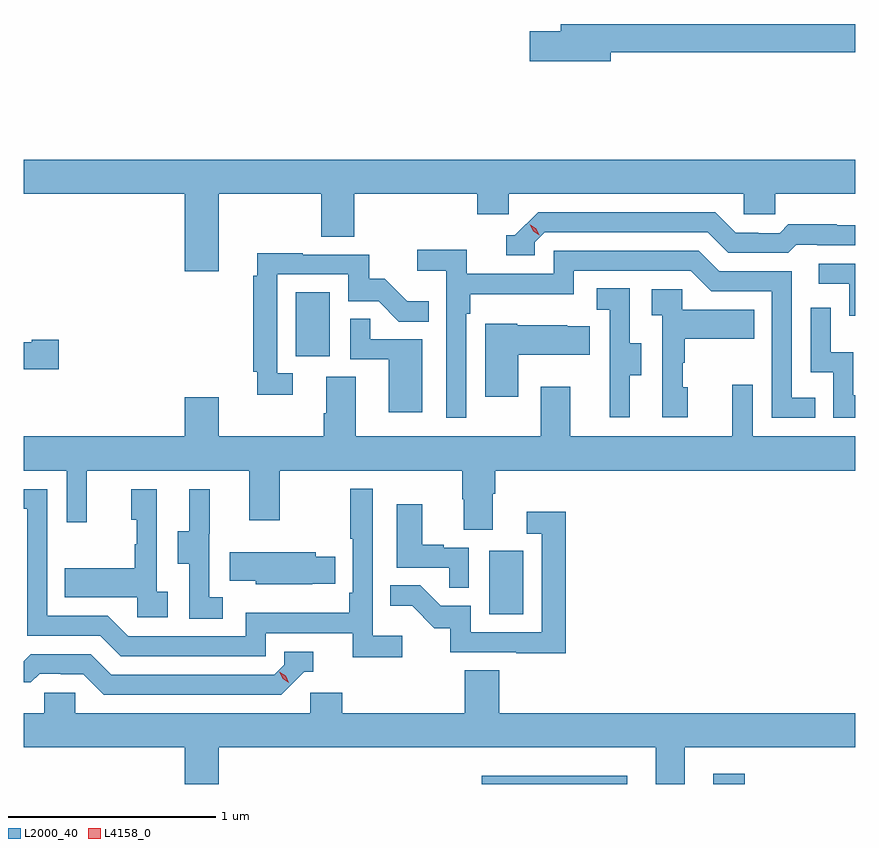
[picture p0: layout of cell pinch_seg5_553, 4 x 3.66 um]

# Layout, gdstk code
import gdstk
lib = gdstk.Library(unit=1e-6, precision=1e-09)
def R(c, l, rs):  # rectangles x0, y0, x1, y1
    for r in rs: c.add(gdstk.rectangle(r[:2], r[2:], *l))
def P(c, l, *ps):  # polygons
    for p in ps: c.add(gdstk.Polygon(p, *l))
L2000_40 = (2000, 40)
L4158_0 = (4158, 0)

pinch_seg5_553 = lib.new_cell('pinch_seg5_553')
R(pinch_seg5_553, L2000_40, [(969.633,836.604,970.333,836.644), (970.745,836.604,970.898,836.653), (969.668,837.42,969.832,837.727), (968.738,838.662,968.902,838.969)])
P(pinch_seg5_553, L2000_40, [(970.252,840.124),(971.429,840.124),(971.429,840.26),(970.013,840.26),(970.013,840.224),(969.864,840.224),(969.864,840.082),(970.252,840.082)],
  [(968.368,839.444),(968.86,839.444),(968.86,839.236),(969.02,839.236),(969.02,839.444),(969.611,839.444),(969.611,839.346),(969.762,839.346),(969.762,839.444),(970.893,839.444),(970.893,839.346),(971.043,839.346),(971.043,839.444),(971.429,839.444),(971.429,839.608),(967.429,839.608),(967.429,839.444),(968.204,839.444),(968.204,839.07),(968.368,839.07)],
  [(969.888,839.211),(969.936,839.259),(970.719,839.259),(970.818,839.16),(971.107,839.16),(971.146,839.199),(971.245,839.199),(971.245,839.196),(971.429,839.196),(971.429,839.293),(971.34,839.293),(971.34,839.296),(971.107,839.296),(971.065,839.253),(970.962,839.253),(970.962,839.256),(970.855,839.256),(970.756,839.355),(969.903,839.355),(969.792,839.244),(969.749,839.244),(969.749,839.148),(969.888,839.148)],
  [(969.558,838.865),(969.578,838.865),(969.578,838.961),(970.074,838.961),(970.074,839.073),(970.638,839.073),(970.737,838.974),(971.028,838.974),(971.028,838.365),(971.237,838.365),(971.237,838.461),(971.124,838.461),(971.124,839.07),(970.774,839.07),(970.675,839.169),(969.978,839.169),(969.978,839.058),(969.56,839.058),(969.56,839.174),(969.321,839.174),(969.321,839.072),(969.462,839.072),(969.462,838.365),(969.558,838.365)],
  [(968.722,838.581),(968.649,838.581),(968.649,839.055),(968.991,839.055),(968.991,838.926),(969.136,838.926),(969.234,838.828),(969.377,838.828),(969.377,838.927),(969.273,838.927),(969.166,839.034),(969.09,839.034),(969.09,839.151),(968.771,839.151),(968.771,839.156),(968.552,839.156),(968.552,839.048),(968.533,839.048),(968.533,838.588),(968.552,838.588),(968.552,838.476),(968.722,838.476)],
  [(971.429,839.106),(971.253,839.106),(971.253,839.01),(971.4,839.01),(971.4,838.857),(971.429,838.857)],
  [(970.345,838.57),(970.399,838.57),(970.399,838.725),(970.344,838.725),(970.344,838.988),(970.185,838.988),(970.185,838.885),(970.248,838.885),(970.248,838.581),(970.247,838.581),(970.247,838.368),(970.345,838.368)],
  [(970.624,838.512),(970.599,838.512),(970.599,838.631),(970.609,838.631),(970.609,838.745),(970.943,838.745),(970.943,838.885),(970.596,838.885),(970.596,838.983),(970.449,838.983),(970.449,838.859),(970.5,838.859),(970.5,838.368),(970.624,838.368)],
  [(971.429,838.474),(971.42,838.474),(971.42,838.682),(971.31,838.682),(971.31,838.894),(971.214,838.894),(971.214,838.584),(971.322,838.584),(971.322,838.365),(971.429,838.365)],
  [(969.346,838.743),(969.095,838.743),(969.095,838.841),(969,838.841),(969,838.647),(969.185,838.647),(969.185,838.392),(969.346,838.392)],
  [(969.808,838.67),(970.151,838.67),(970.151,838.807),(970.043,838.807),(970.043,838.81),(969.804,838.81),(969.804,838.819),(969.65,838.819),(969.65,838.467),(969.808,838.467)],
  [(967.597,838.742),(967.467,838.742),(967.467,838.729),(967.429,838.729),(967.429,838.6),(967.597,838.6)],
  [(969.685,838),(969.698,838),(969.698,838.112),(971.429,838.112),(971.429,838.276),(970.935,838.276),(970.935,838.525),(970.838,838.525),(970.838,838.276),(970.057,838.276),(970.057,838.516),(969.917,838.516),(969.917,838.276),(969.025,838.276),(969.025,838.562),(968.885,838.562),(968.885,838.388),(968.873,838.388),(968.873,838.276),(968.368,838.276),(968.368,838.465),(968.204,838.465),(968.204,838.276),(967.429,838.276),(967.429,838.112),(967.635,838.112),(967.635,837.864),(967.733,837.864),(967.733,838.112),(968.513,838.112),(968.513,837.873),(968.661,837.873),(968.661,838.112),(969.538,838.112),(969.538,837.975),(969.545,837.975),(969.545,837.826),(969.685,837.826)],
  [(969.25,837.316),(969.108,837.316),(969.108,838.024),(969,838.024),(969,837.784),(969.012,837.784),(969.012,837.523),(968.995,837.523),(968.995,837.427),(968.496,837.427),(968.496,837.315),(967.932,837.315),(967.833,837.414),(967.542,837.414),(967.542,838.023),(967.429,838.023),(967.429,837.927),(967.446,837.927),(967.446,837.318),(967.796,837.318),(967.895,837.219),(968.592,837.219),(968.592,837.33),(969.011,837.33),(969.011,837.214),(969.25,837.214)],
  [(968.122,837.53),(968.07,837.53),(968.07,838.021),(967.946,838.021),(967.946,837.876),(967.972,837.876),(967.972,837.758),(967.962,837.758),(967.962,837.643),(967.627,837.643),(967.627,837.503),(967.974,837.503),(967.974,837.405),(968.122,837.405)],
  [(968.386,837.503),(968.322,837.503),(968.322,837.807),(968.324,837.807),(968.324,838.021),(968.225,838.021),(968.225,837.819),(968.171,837.819),(968.171,837.664),(968.226,837.664),(968.226,837.4),(968.386,837.4)],
  [(969.57,837.741),(969.449,837.741),(969.449,837.754),(969.346,837.754),(969.346,837.949),(969.224,837.949),(969.224,837.645),(969.475,837.645),(969.475,837.547),(969.57,837.547)],
  [(970.037,837.913),(969.849,837.913),(969.849,837.807),(969.921,837.807),(969.921,837.333),(969.579,837.333),(969.579,837.462),(969.434,837.462),(969.336,837.56),(969.193,837.56),(969.193,837.461),(969.297,837.461),(969.404,837.354),(969.481,837.354),(969.481,837.237),(969.799,837.237),(969.799,837.232),(970.037,837.232)],
  [(968.816,837.567),(968.927,837.567),(968.927,837.696),(968.833,837.696),(968.833,837.718),(968.419,837.718),(968.419,837.581),(968.544,837.581),(968.544,837.566),(968.816,837.566)],
  [(968.778,837.144),(968.821,837.144),(968.821,837.24),(968.682,837.24),(968.682,837.177),(968.634,837.129),(967.851,837.129),(967.752,837.228),(967.463,837.228),(967.429,837.194),(967.429,837.093),(967.463,837.093),(967.505,837.135),(967.608,837.135),(967.608,837.132),(967.715,837.132),(967.814,837.033),(968.667,837.033)],
  [(968.368,836.78),(970.469,836.78),(970.469,836.604),(970.609,836.604),(970.609,836.78),(971.429,836.78),(971.429,836.944),(969.716,836.944),(969.716,837.152),(969.551,837.152),(969.551,836.944),(968.96,836.944),(968.96,837.042),(968.808,837.042),(968.808,836.944),(967.677,836.944),(967.677,837.042),(967.527,837.042),(967.527,836.944),(967.429,836.944),(967.429,836.78),(968.204,836.78),(968.204,836.604),(968.368,836.604)])
P(pinch_seg5_553, L4158_0, [(969.91,839.244),(969.879,839.263),(969.863,839.296),(969.863,839.296),(969.864,839.296),(969.894,839.276),(969.91,839.244),(969.91,839.244)],
  [(968.705,837.09),(968.674,837.11),(968.658,837.144),(968.658,837.144),(968.659,837.144),(968.689,837.124),(968.705,837.091),(968.705,837.09)])

lib.write_gds('pinch_seg5_553.gds')
